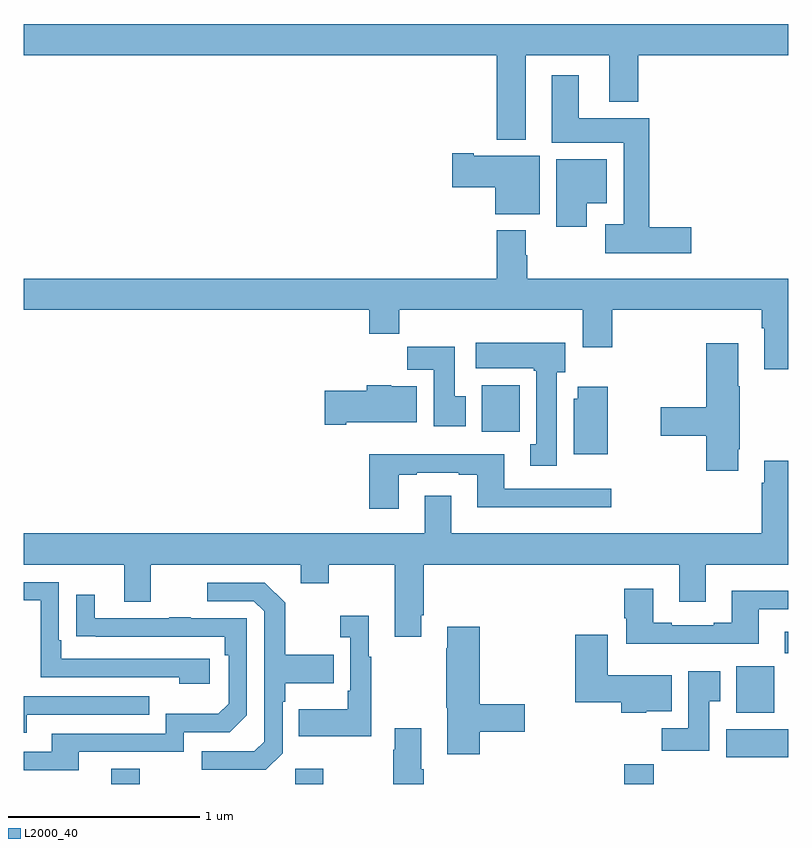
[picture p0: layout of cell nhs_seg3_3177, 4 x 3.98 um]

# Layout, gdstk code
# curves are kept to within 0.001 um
import gdstk
lib = gdstk.Library(unit=1e-6, precision=1e-09)
def R(c, l, rs):  # rectangles x0, y0, x1, y1
    for r in rs: c.add(gdstk.rectangle(r[:2], r[2:], *l))
def P(c, l, *ps):  # polygons
    for p in ps: c.add(gdstk.Polygon(p, *l))
L2000_40 = (2000, 40)

nhs_seg3_3177 = lib.new_cell('nhs_seg3_3177')
R(nhs_seg3_3177, L2000_40, [(275.459,734.4,275.607,734.479), (276.42,734.4,276.567,734.479), (278.141,734.4,278.297,734.504), (278.675,734.54,279,734.686), (278.729,734.774,278.926,735.016), (278.981,735.083,279,735.196), (277.397,736.244,277.594,736.486)])
P(nhs_seg3_3177, L2000_40, [(277.627,738.212),(278.063,738.212),(278.063,737.969),(278.216,737.969),(278.216,738.212),(279,738.212),(279,738.376),(275,738.376),(275,738.212),(277.475,738.212),(277.475,737.771),(277.627,737.771)],
  [(278.491,737.312),(278.273,737.312),(278.273,737.884),(277.903,737.884),(277.903,738.109),(277.763,738.109),(277.763,737.756),(278.138,737.756),(278.138,737.329),(278.043,737.329),(278.043,737.177),(278.491,737.177)],
  [(277.699,737.686),(277.354,737.686),(277.354,737.699),(277.242,737.699),(277.242,737.521),(277.466,737.521),(277.466,737.381),(277.699,737.381)],
  [(277.945,737.438),(278.05,737.438),(278.05,737.668),(277.787,737.668),(277.787,737.316),(277.945,737.316)],
  [(279,737.044),(277.635,737.044),(277.635,737.165),(277.627,737.165),(277.627,737.296),(277.475,737.296),(277.475,737.044),(275,737.044),(275,736.88),(276.809,736.88),(276.809,736.756),(276.965,736.756),(276.965,736.88),(277.925,736.88),(277.925,736.686),(278.078,736.686),(278.078,736.88),(278.861,736.88),(278.861,736.784),(278.873,736.784),(278.873,736.569),(279,736.569)],
  [(277.789,736.554),(277.834,736.554),(277.834,736.708),(277.365,736.708),(277.365,736.574),(277.669,736.574),(277.669,736.561),(277.682,736.561),(277.682,736.178),(277.649,736.178),(277.649,736.065),(277.789,736.065)],
  [(278.737,736.15),(278.745,736.15),(278.745,736.481),(278.737,736.481),(278.737,736.705),(278.57,736.705),(278.57,736.37),(278.334,736.37),(278.334,736.223),(278.57,736.223),(278.57,736.038),(278.737,736.038)],
  [(277.312,736.428),(277.255,736.428),(277.255,736.687),(277.006,736.687),(277.006,736.568),(277.145,736.568),(277.145,736.272),(277.312,736.272)],
  [(276.688,736.292),(277.057,736.292),(277.057,736.48),(276.924,736.48),(276.924,736.486),(276.794,736.486),(276.794,736.458),(276.576,736.458),(276.576,736.28),(276.688,736.28)],
  [(278.056,736.477),(277.898,736.477),(277.898,736.416),(277.877,736.416),(277.877,736.124),(278.056,736.124)],
  [(276.961,736.017),(277.057,736.017),(277.057,736.029),(277.277,736.029),(277.277,736.017),(277.373,736.017),(277.373,735.848),(278.074,735.848),(278.074,735.945),(277.513,735.945),(277.513,736.126),(276.809,736.126),(276.809,735.84),(276.961,735.84)],
  [(278.429,735.354),(278.569,735.354),(278.569,735.548),(279,735.548),(279,736.09),(278.873,736.09),(278.873,735.977),(278.861,735.977),(278.861,735.712),(277.237,735.712),(277.237,735.907),(277.097,735.907),(277.097,735.712),(275,735.712),(275,735.548),(275.525,735.548),(275.525,735.354),(275.665,735.354),(275.665,735.548),(276.449,735.548),(276.449,735.449),(276.597,735.449),(276.597,735.548),(276.941,735.548),(276.941,735.171),(277.081,735.171),(277.081,735.283),(277.094,735.283),(277.094,735.548),(278.429,735.548)],
  [(275.974,735.054),(275.197,735.054),(275.197,735.151),(275.184,735.151),(275.184,735.456),(275,735.456),(275,735.36),(275.088,735.36),(275.088,734.958),(275.813,734.958),(275.813,734.924),(275.974,734.924)],
  [(276.354,734.562),(276.354,734.831),(276.367,734.831),(276.367,734.927),(276.623,734.927),(276.623,735.075),(276.367,735.075),(276.367,735.347),(276.261,735.453),(275.961,735.453),(275.961,735.357),(276.204,735.357),(276.258,735.303),(276.258,734.622),(276.207,734.571),(275.931,734.571),(275.931,734.475),(276.267,734.475)],
  [(278.845,735.315),(279,735.315),(279,735.412),(278.705,735.412),(278.705,735.244),(278.609,735.244),(278.609,735.231),(278.389,735.231),(278.389,735.244),(278.293,735.244),(278.293,735.421),(278.141,735.421),(278.141,735.268),(278.153,735.268),(278.153,735.134),(278.845,735.134)],
  [(275.287,734.568),(275.838,734.568),(275.838,734.67),(276.078,734.67),(276.168,734.76),(276.168,735.267),(275.873,735.267),(275.873,735.272),(275.761,735.272),(275.761,735.267),(275.371,735.267),(275.371,735.391),(275.275,735.391),(275.275,735.172),(276.052,735.171),(276.052,735.074),(276.072,735.074),(276.072,734.82),(276.019,734.767),(275.742,734.767),(275.742,734.664),(275.147,734.664),(275.147,734.568),(275,734.568),(275,734.472),(275.287,734.472)],
  [(276.817,735.067),(276.805,735.067),(276.805,735.28),(276.657,735.28),(276.657,735.167),(276.708,735.167),(276.708,734.887),(276.696,734.887),(276.696,734.791),(276.439,734.791),(276.439,734.651),(276.817,734.651)],
  [(277.385,734.674),(277.621,734.674),(277.621,734.816),(277.385,734.816),(277.385,735.223),(277.217,735.223),(277.217,735.11),(277.21,735.11),(277.21,734.799),(277.217,734.799),(277.217,734.556),(277.385,734.556)],
  [(278.256,734.78),(278.389,734.78),(278.389,734.968),(278.056,734.968),(278.056,735.181),(277.886,735.181),(277.886,734.828),(278.126,734.828),(278.126,734.774),(278.256,734.774)],
  [(278.587,734.833),(278.644,734.833),(278.644,734.989),(278.477,734.989),(278.477,734.692),(278.338,734.692),(278.338,734.574),(278.587,734.574)],
  [(275.017,734.763),(275.657,734.763),(275.657,734.859),(275,734.859),(275,734.669),(275.017,734.669)],
  [(277.094,734.476),(277.081,734.476),(277.081,734.692),(276.941,734.692),(276.941,734.579),(276.934,734.579),(276.934,734.4),(277.094,734.4)])

lib.write_gds('nhs_seg3_3177.gds')
